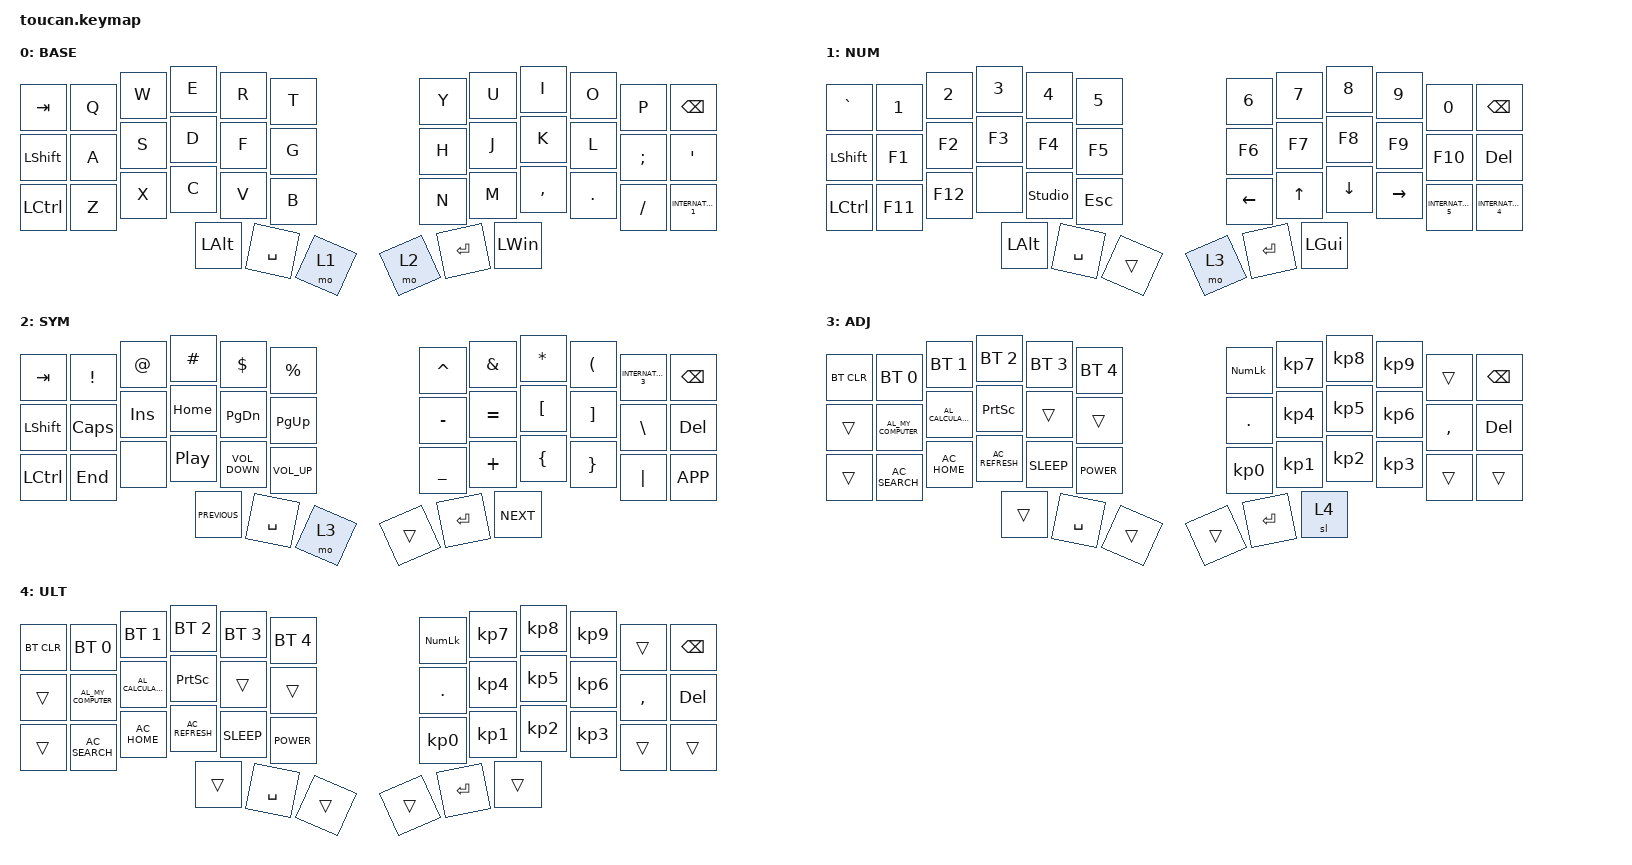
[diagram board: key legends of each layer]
#include <behaviors.dtsi>
#include <dt-bindings/zmk/bt.h>
#include <dt-bindings/zmk/keys.h>

#define BASE 0
#define NAV  1
#define SYM  2
#define ADJ  3
#define ULT  4

&lt {
    tapping-term-ms = <240>;
    flavor = "balanced";
    quick-tap-ms = <150>;
};

&mt {
    tapping-term-ms = <200>;
    flavor = "tap-preferred";
    quick-tap-ms = <150>;
};

/ {
    //conditional_layers {
    //    compatible = "zmk,conditional-layers";
    //    
    //    tri_layer {
    //        if-layers = <1 2>;
    //        then-layer = <3>;
    //    };
    //};

    keymap {
        compatible = "zmk,keymap";

        base {
            display-name = "BASE";
            bindings = <
&kp TAB  &kp Q  &kp W  &kp E  &kp R  &kp T  &kp Y  &kp U  &kp I  &kp O  &kp P  &kp BSPC  &kp LEFT_SHIFT  &kp A  &kp S  &kp D  &kp F  &kp G  &kp H  &kp J  &kp K  &kp L  &kp SEMI  &kp SQT  &kp LEFT_CONTROL  &kp Z  &kp X  &kp C  &kp V  &kp B  &kp N  &kp M  &kp COMMA  &kp DOT  &kp FSLH  &kp INTERNATIONAL_1  &kp LEFT_ALT  &kp SPACE  &mo 1  &mo 2  &kp RETURN  &kp LEFT_WIN
            >;
        };

        num {
            display-name = "NUM";
            bindings = <
&kp GRAVE  &kp N1  &kp N2  &kp N3  &kp N4  &kp N5  &kp N6  &kp N7  &kp N8  &kp N9  &kp N0  &kp BSPC  &kp LEFT_SHIFT  &kp F1  &kp F2  &kp F3  &kp F4  &kp F5  &kp F6  &kp F7  &kp F8  &kp F9  &kp F10  &kp DELETE  &kp LEFT_CONTROL  &kp F11  &kp F12  &none  &studio_unlock  &kp ESC  &kp LEFT_ARROW  &kp UP_ARROW  &kp DOWN_ARROW  &kp RIGHT_ARROW  &kp INTERNATIONAL_5  &kp INTERNATIONAL_4  &kp LEFT_ALT  &kp SPACE  &trans  &mo 3  &kp RETURN  &kp LEFT_GUI
            >;
        };

        sym {
            display-name = "SYM";
            bindings = <
&kp TAB  &kp EXCL  &kp AT  &kp HASH  &kp DLLR  &kp PRCNT  &kp CARET  &kp AMPS  &kp ASTERISK  &kp LPAR  &kp INTERNATIONAL_3  &kp BSPC  &kp LEFT_SHIFT  &kp CAPSLOCK  &kp INSERT  &kp HOME  &kp PAGE_DOWN  &kp PG_UP  &kp MINUS  &kp EQUAL  &kp LBKT  &kp RBKT  &kp BSLH  &kp DELETE  &kp LEFT_CONTROL  &kp END  &none  &kp C_PLAY_PAUSE  &kp C_VOLUME_DOWN  &kp C_VOLUME_UP  &kp UNDER  &kp PLUS  &kp LBRC  &kp RBRC  &kp PIPE  &kp K_APP  &kp C_PREVIOUS  &kp SPACE  &mo 3  &trans  &kp RETURN  &kp C_NEXT
            >;
        };

        adj {
            display-name = "ADJ";
            bindings = <
&bt BT_CLR  &bt BT_SEL 0  &bt BT_SEL 1  &bt BT_SEL 2  &bt BT_SEL 3  &bt BT_SEL 4  &kp KP_NUMLOCK  &kp KP_NUMBER_7  &kp KP_NUMBER_8  &kp KP_NUMBER_9  &trans  &kp BSPC  &trans  &kp C_AL_MY_COMPUTER  &kp C_AL_CALCULATOR  &kp PRINTSCREEN  &trans  &trans  &kp DOT  &kp KP_NUMBER_4  &kp KP_NUMBER_5  &kp KP_NUMBER_6  &kp COMMA  &kp DELETE  &trans  &kp C_AC_SEARCH  &kp C_AC_HOME  &kp C_AC_REFRESH  &kp C_SLEEP  &kp C_POWER  &kp KP_NUMBER_0  &kp KP_NUMBER_1  &kp KP_NUMBER_2  &kp KP_NUMBER_3  &trans  &trans  &trans  &kp SPACE  &trans  &trans  &kp RETURN  &sl 4
            >;
        };

        ult {
            display-name = "ULT";
            bindings = <
&bt BT_CLR  &bt BT_SEL 0  &bt BT_SEL 1  &bt BT_SEL 2  &bt BT_SEL 3  &bt BT_SEL 4  &kp KP_NUMLOCK  &kp KP_NUMBER_7  &kp KP_NUMBER_8  &kp KP_NUMBER_9  &trans  &kp BSPC  &trans  &kp C_AL_MY_COMPUTER  &kp C_AL_CALCULATOR  &kp PRINTSCREEN  &trans  &trans  &kp DOT  &kp KP_NUMBER_4  &kp KP_NUMBER_5  &kp KP_NUMBER_6  &kp COMMA  &kp DELETE  &trans  &kp C_AC_SEARCH  &kp C_AC_HOME  &kp C_AC_REFRESH  &kp C_SLEEP  &kp C_POWER  &kp KP_NUMBER_0  &kp KP_NUMBER_1  &kp KP_NUMBER_2  &kp KP_NUMBER_3  &trans  &trans  &trans  &kp SPACE  &trans  &trans  &kp RETURN  &trans
            >;
        };

        extra_2 { status = "reserved"; };

        extra_3 { status = "reserved"; };
    };
};

// マウス3種のクリックの追加
// 下になるほど指の本数を増やす
&zip_tap_processor {
    status = "okay";
    one_finger_button = <BTN_LEFT>;
    two_finger_button = <BTN_RIGHT>;
    //three_finger_button = <BTN_MIDDLE>;
};
